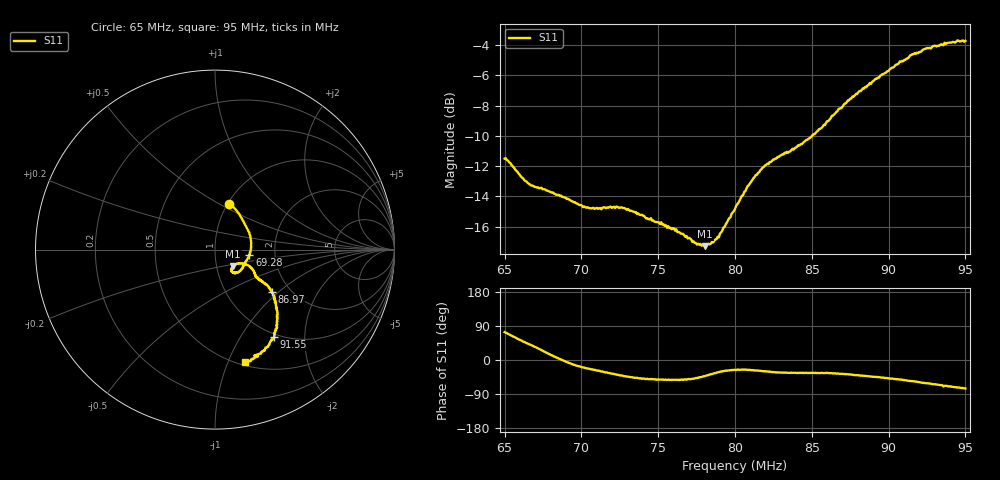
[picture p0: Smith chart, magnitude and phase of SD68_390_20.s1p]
! NanoVNA-App
! Date: 2025-08-02 16:00:02
! Start: 65MHz Stop: 95MHz Points: 401
! S-Parameter data: F S11
# Hz S RI R 50
!  Frequency  S11_Real  S11_Imag
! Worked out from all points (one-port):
!   401 points, 65 MHz to 95 MHz, reference 50 ohm
!   lowest |S11| = -17.3 dB at 78.05 MHz (marker M1), VSWR 1.32, Z = 60.1 - j11.3 ohm
!   |S11| at or under -10 dB: start of sweep to 85.01 MHz
!   S11 on the Smith chart (normalised r, x): 65 MHz: 1.01, +0.55; 69.28 MHz: 1.47, -0.09; 86.97 MHz: 1.62, -0.89; 91.55 MHz: 0.95, -1.42; 95 MHz: 0.53, -1.16
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6.5e7  0.0754 0.2551
6.5825e7  0.1337 0.2004
6.6425e7  0.1591 0.1569
6.725e7  0.1852 0.1038
6.8e7  0.2008 0.0483
6.875e7  0.1988 -0.000483
6.9275e7  0.1917 -0.0289
7.0475e7  0.1688 -0.0706
7.25e7  0.1388 -0.1194
7.4075e7  0.1129 -0.1299
7.625e7  0.0929 -0.1206
7.7375e7  0.0923 -0.1057
7.805e7  0.1009 -0.0923
7.88e7  0.1203 -0.0795
8e7  0.1635 -0.0786
8.09e7  0.1956 -0.095
8.18e7  0.216 -0.1231
8.375e7  0.2384 -0.1594
8.5775e7  0.2829 -0.1952
8.6975e7  0.3161 -0.2337
8.75e7  0.3299 -0.2588
8.93e7  0.3474 -0.3484
9.0725e7  0.347 -0.4344
9.125e7  0.3287 -0.4652
9.155e7  0.3291 -0.4879
9.3125e7  0.2665 -0.5638
9.3725e7  0.2398 -0.5886
9.5e7  0.1678 -0.6286
